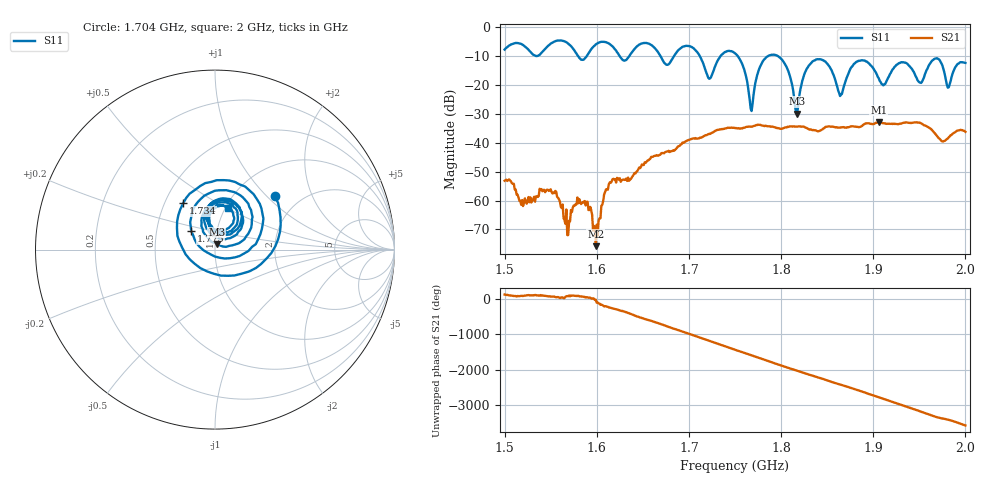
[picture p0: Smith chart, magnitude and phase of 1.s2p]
! NanoVNA-App by SYSJOINT et al v1.1.209 (+OD18)
! Date: 2026-01-21 14:44:05
! Start: 1,5GHz Stop: 2GHz Points: 501
! S-Parameter data: F S11 S21 S12 S22
# Hz S RI R 50
!  Frequency  S11_Real  S11_Imag  S21_Real  S21_Imag  S12_Real  S12_Imag  S22_Real  S22_Imag
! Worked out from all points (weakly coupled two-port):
!   501 points, 1.5 GHz to 2 GHz, reference 50 ohm
!   highest |S21| = -32.75 dB at 1.906 GHz (marker M1); lowest = -75.8 dB at 1.599 GHz (marker M2)
!   lowest |S11| = -29.8 dB at 1.817 GHz (marker M3), VSWR 1.07, Z = 50.9 + j3.12 ohm
!   |S11| at or under -10 dB: 1.712 GHz to 1.734 GHz (22.2 MHz wide, 1.29 % of centre); 1.753 GHz to 1.786 GHz (32.31 MHz wide, 1.83 % of centre); 1.797 GHz to end of sweep (the widest 3 of 6)
!   S12 and S22 are empty: the file has one direction only
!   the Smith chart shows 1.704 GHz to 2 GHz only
!   S11 on the Smith chart (normalised r, x): 1.704 GHz: 1.50, +1.12; 1.734 GHz: 0.62, +0.36; 1.775 GHz: 0.75, +0.16; 2 GHz: 1.03, +0.51
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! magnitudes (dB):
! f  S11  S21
! 1.5 GHz  -7.7  -53.1
! 1.554 GHz  -4.9  -57.4
! 1.567 GHz  -5.1  -63.1
! 1.584 GHz  -11.2  -60.7
! 1.599 GHz  -5.8  -75.8
! 1.616 GHz  -6.2  -53.5
! 1.667 GHz  -8.8  -44.4
! 1.704 GHz  -7.0  -38.5
! 1.722 GHz  -17.8  -36.9
! 1.734 GHz  -10.1  -35.3
! 1.75 GHz  -8.9  -34.9
! 1.767 GHz  -28.2  -34.4
! 1.775 GHz  -15.5  -33.7
! 1.799 GHz  -10.5  -35.1
! 1.817 GHz  -29.8  -34.3
! 1.834 GHz  -11.8  -35.6
! 1.864 GHz  -23.8  -34.7
! 1.883 GHz  -11.8  -34.5
! 1.906 GHz  -17.6  -32.7
! 1.917 GHz  -17.0  -33.4
! 1.982 GHz  -20.7  -38.1
! 2 GHz  -12.3  -36.2
